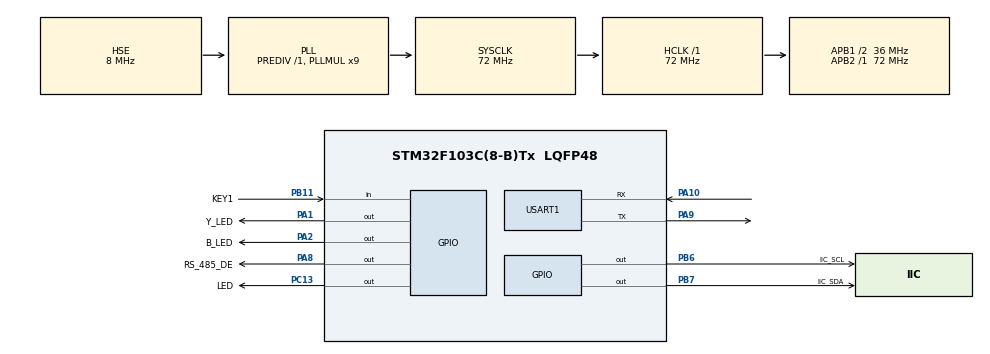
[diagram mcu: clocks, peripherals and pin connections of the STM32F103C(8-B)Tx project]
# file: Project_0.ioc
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Dma.Request0=USART1_RX
Dma.Request1=USART1_TX
Dma.USART1_RX.0.Direction=DMA_PERIPH_TO_MEMORY
Dma.USART1_RX.0.Instance=DMA1_Channel5
Dma.USART1_RX.0.MemDataAlignment=DMA_MDATAALIGN_BYTE
Dma.USART1_RX.0.MemInc=DMA_MINC_ENABLE
Dma.USART1_RX.0.Mode=DMA_NORMAL
Dma.USART1_RX.0.PeriphDataAlignment=DMA_PDATAALIGN_BYTE
Dma.USART1_RX.0.PeriphInc=DMA_PINC_DISABLE
Dma.USART1_RX.0.Priority=DMA_PRIORITY_LOW
Dma.USART1_TX.1.Direction=DMA_MEMORY_TO_PERIPH
Dma.USART1_TX.1.Instance=DMA1_Channel4
Dma.USART1_TX.1.MemDataAlignment=DMA_MDATAALIGN_BYTE
Dma.USART1_TX.1.MemInc=DMA_MINC_ENABLE
Dma.USART1_TX.1.Mode=DMA_NORMAL
Dma.USART1_TX.1.PeriphDataAlignment=DMA_PDATAALIGN_BYTE
Dma.USART1_TX.1.PeriphInc=DMA_PINC_DISABLE
Dma.USART1_TX.1.Priority=DMA_PRIORITY_LOW
IWDG.Prescaler=IWDG_PRESCALER_64
IWDG.Reload=1250
Mcu.Family=STM32F1
Mcu.Name=STM32F103C(8-B)Tx
Mcu.Package=LQFP48
NVIC.DMA1_Channel4_IRQn=true\:0\:0\:false\:false\:true\:false\:true\:true
NVIC.DMA1_Channel5_IRQn=true\:0\:0\:false\:false\:true\:false\:true\:true
NVIC.PriorityGroup=NVIC_PRIORITYGROUP_4
NVIC.TIM4_IRQn=true\:1\:0\:true\:false\:true\:false\:true\:true
NVIC.TimeBase=TIM4_IRQn
NVIC.TimeBaseIP=TIM4
NVIC.USART1_IRQn=true\:0\:0\:false\:false\:true\:true\:true\:true
PA1.GPIO_Label=Y_LED
PA1.Signal=GPIO_Output
PA10.Mode=Asynchronous
PA10.Signal=USART1_RX
PA13.Mode=Trace_Asynchronous_SW
PA13.Signal=SYS_JTMS-SWDIO
PA14.Mode=Trace_Asynchronous_SW
PA14.Signal=SYS_JTCK-SWCLK
PA2.GPIO_Label=B_LED
PA2.Signal=GPIO_Output
PA8.GPIO_Label=RS_485_DE
PA8.Signal=GPIO_Output
PA9.Mode=Asynchronous
PA9.Signal=USART1_TX
PB11.GPIO_Label=KEY1
PB11.Signal=GPIO_Input
PB3.Mode=Trace_Asynchronous_SW
PB3.Signal=SYS_JTDO-TRACESWO
PB6.GPIO_Label=IIC_SCL
PB6.GPIO_ModeDefaultOutputPP=GPIO_MODE_OUTPUT_OD
PB6.GPIO_PuPd=GPIO_PULLUP
PB6.PinState=GPIO_PIN_SET
PB6.Signal=GPIO_Output
PB7.GPIO_Label=IIC_SDA
PB7.GPIO_ModeDefaultOutputPP=GPIO_MODE_OUTPUT_OD
PB7.GPIO_PuPd=GPIO_PULLUP
PB7.PinState=GPIO_PIN_SET
PB7.Signal=GPIO_Output
PC13-TAMPER-RTC.GPIO_Label=LED
PC13-TAMPER-RTC.Signal=GPIO_Output
PD0-OSC_IN.Mode=HSE-External-Oscillator
PD0-OSC_IN.Signal=RCC_OSC_IN
PD1-OSC_OUT.Mode=HSE-External-Oscillator
PD1-OSC_OUT.Signal=RCC_OSC_OUT
ProjectManager.HeapSize=0x200
ProjectManager.StackSize=0x400
ProjectManager.TargetToolchain=MDK-ARM V5.32
RCC.AHBFreq_Value=72000000
RCC.APB1CLKDivider=RCC_HCLK_DIV2
RCC.APB1Freq_Value=36000000
RCC.APB1TimFreq_Value=72000000
RCC.APB2Freq_Value=72000000
RCC.APB2TimFreq_Value=72000000
RCC.HCLKFreq_Value=72000000
RCC.PLLMUL=RCC_PLL_MUL9
RCC.PLLSourceVirtual=RCC_PLLSOURCE_HSE
RCC.SYSCLKFreq_VALUE=72000000
RCC.SYSCLKSource=RCC_SYSCLKSOURCE_PLLCLK
RCC.USBFreq_Value=72000000
USART1.VirtualMode=VM_ASYNC
VP_IWDG_VS_IWDG.Mode=IWDG_Activate
VP_SYS_VS_tim4.Mode=TIM4
board=custom

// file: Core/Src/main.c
/* USER CODE BEGIN Header */
/**
  ******************************************************************************
  * @file           : main.c
  * @brief          : Main program body
  ******************************************************************************
  * @attention
  *
  * Copyright (c) 2026 STMicroelectronics.
  * All rights reserved.
  *
  * This software is licensed under terms that can be found in the LICENSE file
  * in the root directory of this software component.
  * If no LICENSE file comes with this software, it is provided AS-IS.
  *
  ******************************************************************************
  */
/* USER CODE END Header */
#include "main.h"

/* USER CODE BEGIN Includes */
#include "stdio.h"
#include "MYIIC.h"
#include "SHT30.h"
#include "RS485.h"
#include "BH1750.h"
#include "Modbus.h"
#include "Modbus_crc.h"
#include "Modbus_register.h"
#include "ParamSave.h"
#include "Sensor.h"
#include "freertos_demo.h"
/* USER CODE END Includes */

IWDG_HandleTypeDef hiwdg;

UART_HandleTypeDef huart1;
DMA_HandleTypeDef hdma_usart1_rx;
DMA_HandleTypeDef hdma_usart1_tx;

/* USER CODE BEGIN PV */

float temperature = 0.0f;
float humidity = 0.0f;
float light = 0.0f;
uint16_t Crc_Value;

/* USER CODE END PV */

void SystemClock_Config(void);
static void MX_GPIO_Init(void);
static void MX_DMA_Init(void);
static void MX_USART1_UART_Init(void);
static void MX_IWDG_Init(void);

int main(void)
{

  /* MCU Configuration--------------------------------------------------------*/

  /* Reset of all peripherals, Initializes the Flash interface and the Systick. */
  HAL_Init();

  /* Configure the system clock */
  SystemClock_Config();

  /* Initialize all configured peripherals */
  MX_GPIO_Init();
  MX_DMA_Init();
  MX_USART1_UART_Init();
  MX_IWDG_Init();
  /* USER CODE BEGIN 2 */

  /*初始化寄存器  */
  Load_Params();
  RS485_Init(&huart1, RS_485_DE_GPIO_Port, RS_485_DE_Pin);
  BH1750_Init();
  SHT30_Init();
	//FreeRTOS_Init();
  /* USER CODE END 2 */

  /* Infinite loop */
  /* USER CODE BEGIN WHILE */
while (1)
{
    Sensor_Read();
    HAL_IWDG_Refresh(&hiwdg); // 喂狗，防止看门狗复位
    HAL_GPIO_TogglePin(LED_GPIO_Port, LED_Pin); // 翻转LED，观察程序运行状态
    HAL_Delay(100);

    /* USER CODE END WHILE */

}
}

void SystemClock_Config(void)
{
  RCC_OscInitTypeDef RCC_OscInitStruct = {0};
  RCC_ClkInitTypeDef RCC_ClkInitStruct = {0};

  /** Initializes the RCC Oscillators according to the specified parameters
  * in the RCC_OscInitTypeDef structure.
  */
  RCC_OscInitStruct.OscillatorType = RCC_OSCILLATORTYPE_LSI|RCC_OSCILLATORTYPE_HSE;
  RCC_OscInitStruct.HSEState = RCC_HSE_ON;
  RCC_OscInitStruct.HSEPredivValue = RCC_HSE_PREDIV_DIV1;
  RCC_OscInitStruct.HSIState = RCC_HSI_ON;
  RCC_OscInitStruct.LSIState = RCC_LSI_ON;
  RCC_OscInitStruct.PLL.PLLState = RCC_PLL_ON;
  RCC_OscInitStruct.PLL.PLLSource = RCC_PLLSOURCE_HSE;
  RCC_OscInitStruct.PLL.PLLMUL = RCC_PLL_MUL9;
  if (HAL_RCC_OscConfig(&RCC_OscInitStruct) != HAL_OK)
  {
    Error_Handler();
  }

  /** Initializes the CPU, AHB and APB buses clocks
  */
  RCC_ClkInitStruct.ClockType = RCC_CLOCKTYPE_HCLK|RCC_CLOCKTYPE_SYSCLK
                              |RCC_CLOCKTYPE_PCLK1|RCC_CLOCKTYPE_PCLK2;
  RCC_ClkInitStruct.SYSCLKSource = RCC_SYSCLKSOURCE_PLLCLK;
  RCC_ClkInitStruct.AHBCLKDivider = RCC_SYSCLK_DIV1;
  RCC_ClkInitStruct.APB1CLKDivider = RCC_HCLK_DIV2;
  RCC_ClkInitStruct.APB2CLKDivider = RCC_HCLK_DIV1;

  if (HAL_RCC_ClockConfig(&RCC_ClkInitStruct, FLASH_LATENCY_2) != HAL_OK)
  {
    Error_Handler();
  }
}

static void MX_IWDG_Init(void)
{

  hiwdg.Instance = IWDG;
  hiwdg.Init.Prescaler = IWDG_PRESCALER_64;
  hiwdg.Init.Reload = 1250;
  if (HAL_IWDG_Init(&hiwdg) != HAL_OK)
  {
    Error_Handler();
  }

}

static void MX_USART1_UART_Init(void)
{

  huart1.Instance = USART1;
  huart1.Init.BaudRate = 115200;
  huart1.Init.WordLength = UART_WORDLENGTH_8B;
  huart1.Init.StopBits = UART_STOPBITS_1;
  huart1.Init.Parity = UART_PARITY_NONE;
  huart1.Init.Mode = UART_MODE_TX_RX;
  huart1.Init.HwFlowCtl = UART_HWCONTROL_NONE;
  huart1.Init.OverSampling = UART_OVERSAMPLING_16;
  if (HAL_UART_Init(&huart1) != HAL_OK)
  {
    Error_Handler();
  }
  /* USER CODE BEGIN USART1_Init 2 */
  HAL_NVIC_SetPriority(USART1_IRQn, 0, 1);
  HAL_NVIC_EnableIRQ(USART1_IRQn);
  /* USER CODE END USART1_Init 2 */

}

static void MX_DMA_Init(void)
{

  /* DMA controller clock enable */
  __HAL_RCC_DMA1_CLK_ENABLE();

  /* DMA interrupt init */
  /* DMA1_Channel4_IRQn interrupt configuration */
  HAL_NVIC_SetPriority(DMA1_Channel4_IRQn, 0, 0);
  HAL_NVIC_EnableIRQ(DMA1_Channel4_IRQn);
  /* DMA1_Channel5_IRQn interrupt configuration */
  HAL_NVIC_SetPriority(DMA1_Channel5_IRQn, 0, 0);
  HAL_NVIC_EnableIRQ(DMA1_Channel5_IRQn);

}

static void MX_GPIO_Init(void)
{
  GPIO_InitTypeDef GPIO_InitStruct = {0};

  /* GPIO Ports Clock Enable */
  __HAL_RCC_GPIOC_CLK_ENABLE();
  __HAL_RCC_GPIOD_CLK_ENABLE();
  __HAL_RCC_GPIOA_CLK_ENABLE();
  __HAL_RCC_GPIOB_CLK_ENABLE();

  /*Configure GPIO pin Output Level */
  HAL_GPIO_WritePin(LED_GPIO_Port, LED_Pin, GPIO_PIN_RESET);

  /*Configure GPIO pin Output Level */
  HAL_GPIO_WritePin(GPIOA, Y_LED_Pin|B_LED_Pin|RS_485_DE_Pin, GPIO_PIN_RESET);

  /*Configure GPIO pin Output Level */
  HAL_GPIO_WritePin(GPIOB, IIC_SCL_Pin|IIC_SDA_Pin, GPIO_PIN_SET);

  /*Configure GPIO pin : LED_Pin */
  GPIO_InitStruct.Pin = LED_Pin;
  GPIO_InitStruct.Mode = GPIO_MODE_OUTPUT_PP;
  GPIO_InitStruct.Pull = GPIO_NOPULL;
  GPIO_InitStruct.Speed = GPIO_SPEED_FREQ_LOW;
  HAL_GPIO_Init(LED_GPIO_Port, &GPIO_InitStruct);

  /*Configure GPIO pins : Y_LED_Pin B_LED_Pin RS_485_DE_Pin */
  GPIO_InitStruct.Pin = Y_LED_Pin|B_LED_Pin|RS_485_DE_Pin;
  GPIO_InitStruct.Mode = GPIO_MODE_OUTPUT_PP;
  GPIO_InitStruct.Pull = GPIO_NOPULL;
  GPIO_InitStruct.Speed = GPIO_SPEED_FREQ_LOW;
  HAL_GPIO_Init(GPIOA, &GPIO_InitStruct);

  /*Configure GPIO pin : KEY1_Pin */
  GPIO_InitStruct.Pin = KEY1_Pin;
  GPIO_InitStruct.Mode = GPIO_MODE_INPUT;
  GPIO_InitStruct.Pull = GPIO_NOPULL;
  HAL_GPIO_Init(KEY1_GPIO_Port, &GPIO_InitStruct);

  /*Configure GPIO pins : IIC_SCL_Pin IIC_SDA_Pin */
  GPIO_InitStruct.Pin = IIC_SCL_Pin|IIC_SDA_Pin;
  GPIO_InitStruct.Mode = GPIO_MODE_OUTPUT_OD;
  GPIO_InitStruct.Pull = GPIO_PULLUP;
  GPIO_InitStruct.Speed = GPIO_SPEED_FREQ_LOW;
  HAL_GPIO_Init(GPIOB, &GPIO_InitStruct);

  /* USER CODE BEGIN MX_GPIO_Init_2 */
  /* PC13 LED for RS485 RX observation */
  GPIO_InitStruct.Pin = LED_Pin;
  GPIO_InitStruct.Mode = GPIO_MODE_OUTPUT_PP;
  GPIO_InitStruct.Pull = GPIO_NOPULL;
  GPIO_InitStruct.Speed = GPIO_SPEED_FREQ_LOW;
  HAL_GPIO_Init(LED_GPIO_Port, &GPIO_InitStruct);
  /* USER CODE END MX_GPIO_Init_2 */
}

/* USER CODE BEGIN 4 */

int fputc(int ch, FILE *f)
{
    // RS485发送时需要拉高DE引脚
    HAL_GPIO_WritePin(RS_485_DE_GPIO_Port, RS_485_DE_Pin, GPIO_PIN_SET);
    HAL_UART_Transmit(&huart1, (uint8_t *)&ch, 1, HAL_MAX_DELAY);
    HAL_GPIO_WritePin(RS_485_DE_GPIO_Port, RS_485_DE_Pin, GPIO_PIN_RESET);
    return ch;
}

/* USER CODE END 4 */

void HAL_TIM_PeriodElapsedCallback(TIM_HandleTypeDef *htim)
{
  if (htim->Instance == TIM4)
  {
    HAL_IncTick();
  }
}

void Error_Handler(void)
{
  __disable_irq();
  while (1)
  {
  }
}
